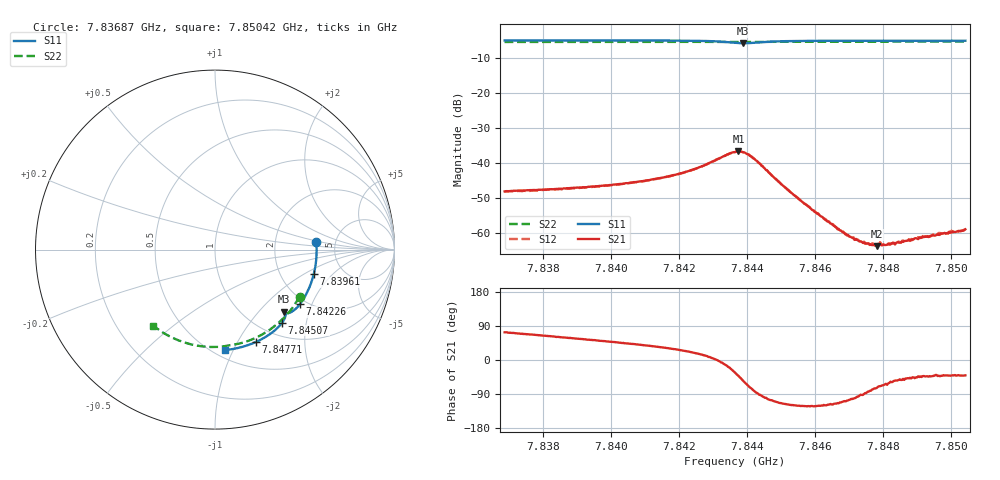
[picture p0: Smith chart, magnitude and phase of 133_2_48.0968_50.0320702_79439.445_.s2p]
#  HZ  S  RI  R  50.00
! Rohde & Schwarz Vector Network Analyzer
! Rohde-Schwarz,ZNB20-2Port,1311601062101988,3.16
! Created: UTC 12/23/2023, 3:48:00 AM
! freq[Hz]  re:S11  im:S11  re:S21  im:S21  re:S12  im:S12  re:S22  im:S22
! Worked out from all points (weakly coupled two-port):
!   401 points, 7.83687 GHz to 7.85042 GHz, reference 50 ohm
!   highest |S21| = -36.68 dB at 7.84375 GHz (marker M1); lowest = -63.9 dB at 7.84781 GHz (marker M2)
!   lowest |S11| = -5.7 dB at 7.84388 GHz (marker M3), VSWR 3.14, Z = 73.5 - j69.3 ohm
!   |S11| at or under -10 dB: nowhere
!   |S22| runs from -5.4 to -5.3 dB; largest |S21 - S12| = 0.0003
!   S11 on the Smith chart (normalised r, x): 7.83687 GHz: 3.54, +0.46; 7.83961 GHz: 3.07, -1.24; 7.84226 GHz: 1.86, -1.64; 7.84507 GHz: 1.25, -1.46; 7.84771 GHz: 0.79, -1.19; 7.85042 GHz: 0.57, -0.93
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7.836867e9  0.5644 0.0444  0.00114 0.00373  0.00118 0.00371  0.4715 -0.262
7.839138e9  0.5568 -0.1062  0.00251 0.00365  0.00251 0.00362  0.3757 -0.3885
7.839612e9  0.55 -0.1373  0.0029 0.00362  0.00289 0.00359  0.3511 -0.4109
7.840561e9  0.5306 -0.1985  0.00381 0.00357  0.00375 0.00353  0.2984 -0.4512
7.841408e9  0.5067 -0.2517  0.00498 0.00339  0.00491 0.00341  0.247 -0.4814
7.842255e9  0.4741 -0.3029  0.00699 0.00291  0.00695 0.00296  0.1926 -0.5057
7.84273e9  0.4499 -0.3299  0.00895 0.00198  0.00891 0.00207  0.1611 -0.5166
7.843137e9  0.4237 -0.3485  0.0114 -0.000188  0.0113 -0.000134  0.1335 -0.5237
7.843645e9  0.3886 -0.3521  0.0119 -0.00781  0.0121 -0.00778  0.0994 -0.5299
7.843747e9  0.3851 -0.3492  0.0109 -0.00976  0.0109 -0.00955  0.0928 -0.5309
7.843882e9  0.3844 -0.3457  0.00825 -0.0116  0.00835 -0.0114  0.0844 -0.5324
7.844085e9  0.3885 -0.3467  0.00378 -0.012  0.00399 -0.0121  0.0715 -0.5348
7.844289e9  0.3925 -0.3559  0.000593 -0.0106  0.000646 -0.0106  0.058 -0.5373
7.845068e9  0.3745 -0.4072  -0.002 -0.00423  -0.00199 -0.00425  0.00355 -0.5425
7.845915e9  0.3324 -0.4507  -0.0011 -0.00181  -0.00116 -0.00182  -0.0562 -0.5406
7.846932e9  0.2747 -0.4906  -0.000285 -0.000899  -0.000274 -0.000875  -0.1269 -0.5292
7.847339e9  0.2504 -0.504  -2.15e-05 -0.000756  -5.95e-05 -0.000744  -0.1543 -0.5223
7.847712e9  0.2277 -0.5147  0.000155 -0.000656  0.000167 -0.000681  -0.1794 -0.5143
7.847813e9  0.2215 -0.5176  0.000178 -0.000616  0.000208 -0.000634  -0.1861 -0.5119
7.848186e9  0.1984 -0.5269  0.000333 -0.000587  0.00033 -0.000616  -0.2106 -0.5027
7.849643e9  0.1049 -0.5528  0.000694 -0.000617  0.00076 -0.000638  -0.3011 -0.4553
7.850423e9  0.0534 -0.5598  0.000851 -0.000728  0.00086 -0.00071  -0.3452 -0.4233
